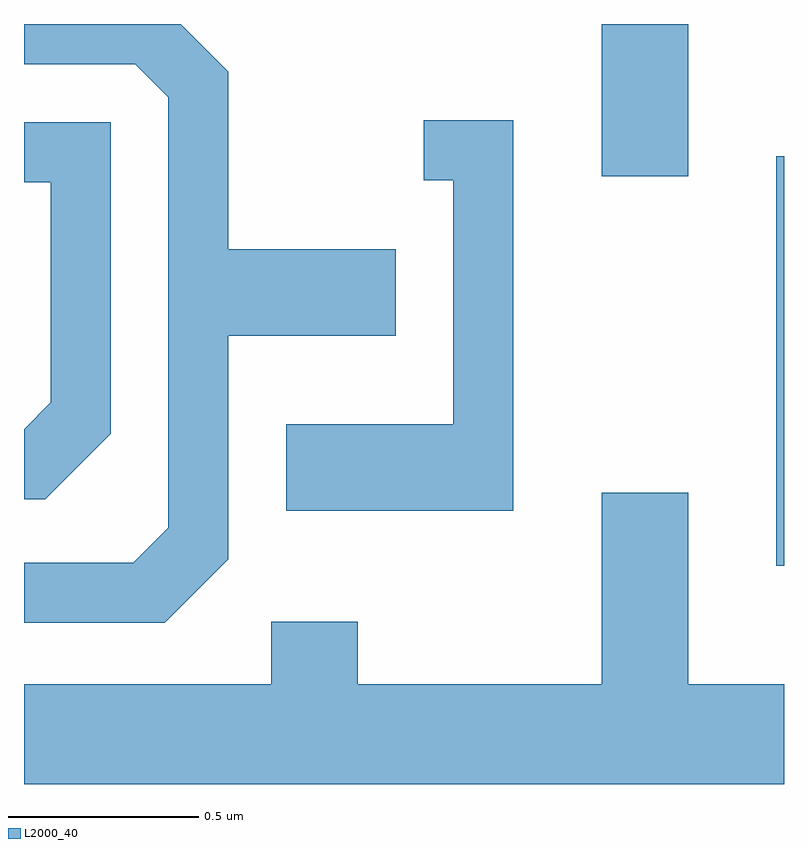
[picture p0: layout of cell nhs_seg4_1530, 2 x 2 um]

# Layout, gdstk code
import gdstk
lib = gdstk.Library(unit=1e-6, precision=1e-09)
def R(c, l, rs):  # rectangles x0, y0, x1, y1
    for r in rs: c.add(gdstk.rectangle(r[:2], r[2:], *l))
def P(c, l, *ps):  # polygons
    for p in ps: c.add(gdstk.Polygon(p, *l))
L2000_40 = (2000, 40)

nhs_seg4_1530 = lib.new_cell('nhs_seg4_1530')
R(nhs_seg4_1530, L2000_40, [(198.591,1277.556,198.611,1278.634), (198.131,1278.581,198.359,1278.982)])
P(nhs_seg4_1530, L2000_40, [(197.149,1277.574),(197.149,1278.161),(197.589,1278.161),(197.589,1278.389),(197.149,1278.389),(197.149,1278.857),(197.024,1278.982),(196.611,1278.982),(196.611,1278.876),(196.904,1278.876),(196.991,1278.789),(196.991,1277.657),(196.899,1277.564),(196.611,1277.564),(196.611,1277.406),(196.982,1277.406)],
  [(197.899,1278.729),(197.663,1278.729),(197.663,1278.571),(197.741,1278.571),(197.741,1277.929),(197.301,1277.929),(197.301,1277.701),(197.899,1277.701)],
  [(196.839,1277.904),(196.839,1278.724),(196.611,1278.724),(196.611,1278.566),(196.681,1278.566),(196.681,1277.987),(196.611,1277.916),(196.611,1277.731),(196.667,1277.731)],
  [(198.611,1277.244),(198.359,1277.244),(198.359,1277.749),(198.131,1277.749),(198.131,1277.244),(197.489,1277.244),(197.489,1277.409),(197.261,1277.409),(197.261,1277.244),(196.611,1277.244),(196.611,1276.982),(198.611,1276.982)])

lib.write_gds('nhs_seg4_1530.gds')
